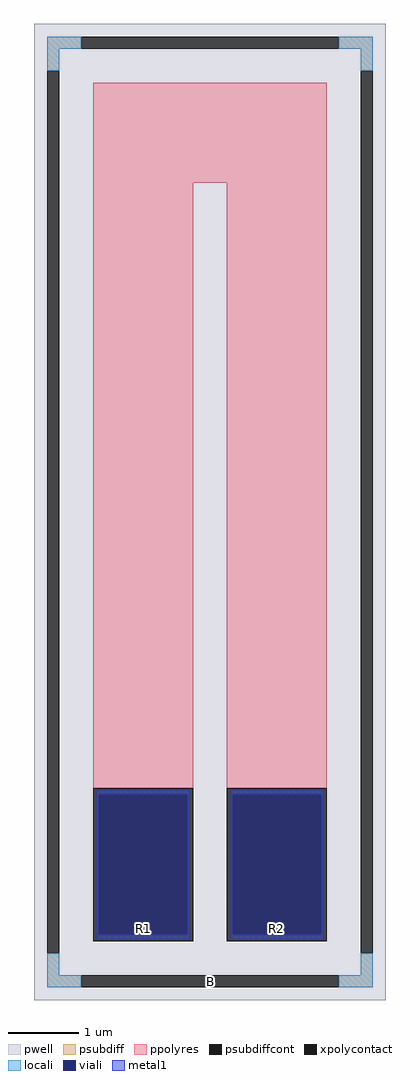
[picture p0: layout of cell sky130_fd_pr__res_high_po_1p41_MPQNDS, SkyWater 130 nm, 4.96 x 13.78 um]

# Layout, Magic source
magic
tech sky130A
magscale 1 2
<< pwell >>
rect -496 -1378 496 1378
<< psubdiff >>
rect -460 1308 -364 1342
rect 364 1308 460 1342
rect -460 1246 -426 1308
rect 426 1246 460 1308
rect -460 -1308 -426 -1246
rect 426 -1308 460 -1246
rect -460 -1342 -364 -1308
rect 364 -1342 460 -1308
<< psubdiffcont >>
rect -364 1308 364 1342
rect -460 -1246 -426 1246
rect 426 -1246 460 1246
rect -364 -1342 364 -1308
<< xpolycontact >>
rect -330 -1212 -48 -780
rect 48 -1212 330 -780
<< ppolyres >>
rect -330 930 330 1212
rect -330 -780 -48 930
rect 48 -780 330 930
<< locali >>
rect -460 1308 -364 1342
rect 364 1308 460 1342
rect -460 1246 -426 1308
rect 426 1246 460 1308
rect -460 -1308 -426 -1246
rect 426 -1308 460 -1246
rect -460 -1342 -364 -1308
rect 364 -1342 460 -1308
<< viali >>
rect -314 -1194 -64 -797
rect 64 -1194 314 -797
<< metal1 >>
rect -320 -797 -58 -785
rect -320 -1194 -314 -797
rect -64 -1194 -58 -797
rect -320 -1206 -58 -1194
rect 58 -797 320 -785
rect 58 -1194 64 -797
rect 314 -1194 320 -797
rect 58 -1206 320 -1194
<< labels >>
rlabel psubdiffcont 0 -1325 0 -1325 0 B
port 1 nsew
rlabel xpolycontact -189 -1177 -189 -1177 0 R1
port 2 nsew
rlabel xpolycontact 189 -1177 189 -1177 0 R2
port 3 nsew
<< properties >>
string FIXED_BBOX -443 -1325 443 1325
string gencell sky130_fd_pr__res_high_po_1p41
string library sky130
string parameters w 1.41 l 9.44 m 1 nx 2 wmin 1.410 lmin 0.50 class resistor rho 319.8 val 4.878k dummy 0 dw 0.0 term 194.82 sterm 0.0 caplen 0 guard 1 glc 1 grc 1 gtc 1 gbc 1 compatible {sky130_fd_pr__res_high_po_0p35  sky130_fd_pr__res_high_po_0p69 sky130_fd_pr__res_high_po_1p41  sky130_fd_pr__res_high_po_2p85 sky130_fd_pr__res_high_po_5p73} snake 1 full_metal 1 wmax 1.410 n_guard 0 hv_guard 0 vias 1 viagb 0 viagt 0 viagl 0 viagr 0 doports 1
<< end >>
